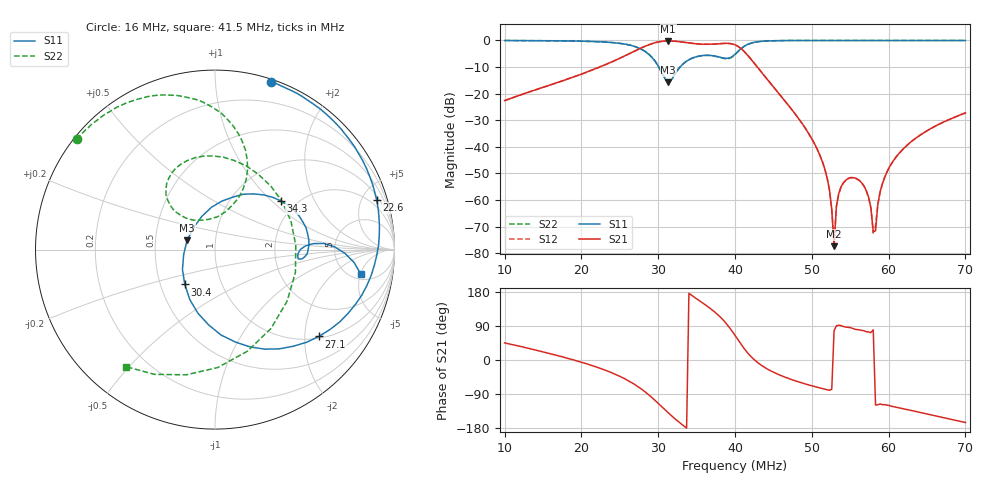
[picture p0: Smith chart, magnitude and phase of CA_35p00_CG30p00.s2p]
#  HZ  S  RI  R  50.00
! Rohde & Schwarz ZVT8 8Ports - Version 4.11 - 1300.0000k08 SN: 100242
! Date: 2026-07-31 14:44:38
! Measurements: S11 S21 S12 S22
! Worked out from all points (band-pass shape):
!   201 points, 10 MHz to 70 MHz, reference 50 ohm
!   highest |S21| = -0.18 dB at 31.3 MHz (marker M1); lowest = -77.3 dB at 52.9 MHz (marker M2)
!   |S21| within 3 dB of the highest: 27.53 MHz to 40.83 MHz (13.3 MHz wide, 38.9 % of centre)
!   lowest |S11| = -15.7 dB at 31.3 MHz (marker M3), VSWR 1.39, Z = 36.4 + j3.88 ohm
!   |S11| at or under -10 dB: 30.08 MHz to 32.86 MHz (2.781 MHz wide, 8.84 % of centre)
!   |S22| runs from -15.3 to 0.0 dB; largest |S21 - S12| = 0.0032
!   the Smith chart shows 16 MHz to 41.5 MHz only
!   S11 on the Smith chart (normalised r, x): 16 MHz: 0.02, +1.38; 22.6 MHz: 1.30, +6.41; 27.1 MHz: 1.05, -2.35; 30.4 MHz: 0.67, -0.28; 34.3 MHz: 1.66, +1.14; 41.5 MHz: 5.98, -5.05
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1e7  -0.4038 0.9108  0.052 0.0526  0.0518 0.0526  -0.9187 0.3858
1.6e7  0.31 0.9361  0.1403 0.0413  0.1407 0.0412  -0.7715 0.6143
2.02e7  0.7534 0.6068  0.2367 -0.0294  0.2358 -0.0292  -0.589 0.7672
2.26e7  0.9008 0.2762  0.2988 -0.1276  0.3007 -0.1275  -0.4308 0.838
2.71e7  0.5788 -0.4839  0.2546 -0.5948  0.2544 -0.5939  0.0377 0.7581
3.01e7  -0.1398 -0.2794  -0.4163 -0.8464  -0.4159 -0.8464  0.1303 0.2863
3.04e7  -0.1683 -0.194  -0.5067 -0.8139  -0.5077 -0.813  0.0945 0.2453
3.13e7  -0.1554 0.0519  -0.7409 -0.6406  -0.7394 -0.641  -0.0339 0.1688
3.43e7  0.3651 0.2724  -0.8748 0.1304  -0.8738 0.1301  -0.2692 0.3684
3.76e7  0.5019 -0.038  -0.4604 0.7237  -0.4615 0.7249  0.1749 0.4661
4e7  0.5488 0.0336  0.3486 0.7501  0.3489 0.7485  0.312 -0.4394
4.15e7  0.812 -0.1362  0.5151 0.2108  0.5142 0.2117  -0.4958 -0.6519
4.39e7  0.7391 -0.6363  0.1972 -0.0719  0.1971 -0.072  -0.9716 0.00907
5.02e7  -0.0768 -0.9953  0.00445 -0.0118  0.00447 -0.0117  -0.6972 0.7123
5.2e7  -0.2983 -0.9532  0.000509 -0.00253  0.000564 -0.00254  -0.6028 0.792
5.29e7  -0.4019 -0.9133  3.04e-05 0.000133  3.13e-05 0.000141  -0.559 0.8245
5.32e7  -0.4344 -0.8987  -1.62e-06 0.000751  9.66e-06 0.000767  -0.5443 0.8353
5.41e7  -0.5298 -0.8468  5.53e-05 0.00208  4.8e-05 0.00209  -0.5004 0.8622
5.68e7  -0.7676 -0.638  0.000409 0.0018  0.000429 0.00176  -0.3708 0.9246
5.8e7  -0.8489 -0.5236  4.54e-05 0.000251  4.5e-05 0.000236  -0.3152 0.9462
6.01e7  -0.9485 -0.3045  -0.00209 -0.00361  -0.00208 -0.00355  -0.2199 0.9724
7e7  -0.6747 0.7325  -0.042 -0.0113  -0.0419 -0.0113  0.2113 0.9736
